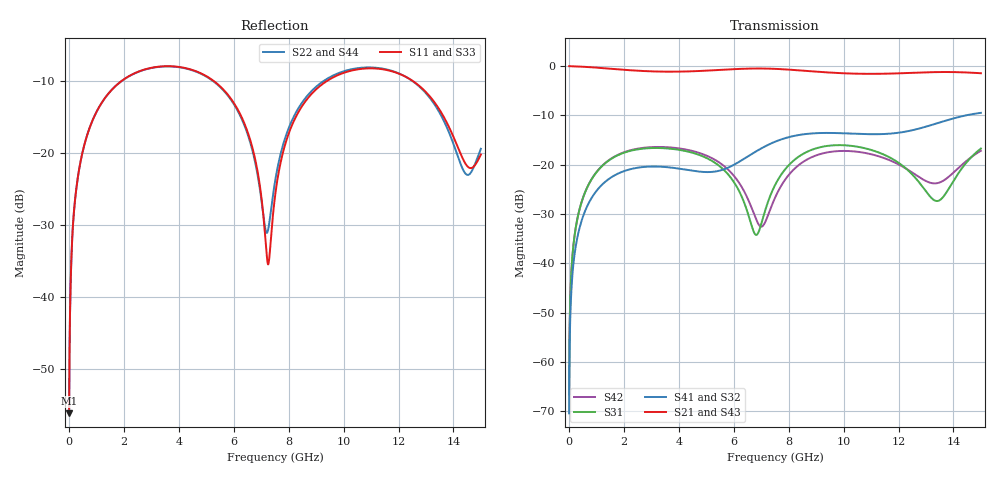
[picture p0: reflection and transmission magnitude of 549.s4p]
! Created with skrf 1.8.0 (http://scikit-rf.org).
# GHz S RI R 50.0
!freq ReS11 ImS11 ReS12 ImS12 ReS13 ImS13
! ReS14 ImS14
! ReS21 ImS21 ReS22 ImS22 ReS23 ImS23
! ReS24 ImS24
! ReS31 ImS31 ReS32 ImS32 ReS33 ImS33
! ReS34 ImS34
! ReS41 ImS41 ReS42 ImS42 ReS43 ImS43
! ReS44 ImS44
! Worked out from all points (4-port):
!   2499 points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, 5 MHz to 15 GHz, reference 50 ohm
!   strongest paths, dB at 5 MHz, 3.476 GHz, 7.19 GHz, 11.1 GHz, 15 GHz:
!     S21: 0.0, -1.1, -0.5, -1.6, -1.4
!     S43: 0.0, -1.1, -0.5, -1.6, -1.4
!     S41: -70.5, -20.5, -16.1, -13.8, -9.5
!     S32: -70.5, -20.5, -16.1, -13.9, -9.5
!     S31: -66.6, -16.7, -28.5, -17.2, -16.7
!     S42: -66.6, -16.4, -31.1, -18.0, -17.2
!   lowest |S11| = -56.1 dB at 5 MHz (marker M1), VSWR 1.00, Z = 50.1 + j0.0953 ohm
!   |S11| at or under -10 dB: start of sweep to 1.938 GHz; 5.249 GHz to 9.418 GHz (4.169 GHz wide, 56.9 % of centre); 12.5 GHz to end of sweep
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0.005  0.00124 0.000951  0.9987 -0.00242  6.04e-05 0.000463  -5.89e-05 -0.000294
       0.9987 -0.00242  0.00124 0.000951  -5.89e-05 -0.000294  6.04e-05 0.000463
       6.04e-05 0.000463  -5.89e-05 -0.000294  0.00124 0.00095  0.9987 -0.00243
       -5.89e-05 -0.000294  6.04e-05 0.000463  0.9987 -0.00243  0.00124 0.00095
0.4626928  0.0275 0.0908  0.9618 -0.221  0.0124 0.0402  -0.0105 -0.0251
           0.9618 -0.221  0.0274 0.0908  -0.0105 -0.0251  0.0128 0.0401
           0.0124 0.0402  -0.0105 -0.0251  0.0275 0.0908  0.9618 -0.221
           -0.0105 -0.0251  0.0128 0.0401  0.9618 -0.221  0.0274 0.0908
2.225927  0.2978 0.1695  0.4912 -0.764  0.1272 0.0534  -0.0898 0.00326
          0.4912 -0.764  0.2961 0.1709  -0.0896 0.00301  0.1322 0.0456
          0.1272 0.0534  -0.0896 0.00301  0.2979 0.1693  0.4912 -0.764
          -0.0898 0.00326  0.1322 0.0456  0.4912 -0.764  0.2959 0.171
5.864944  0.1538 -0.1859  -0.7152 -0.59  0.0499 -0.0566  -0.0408 0.0861
          -0.7152 -0.59  0.1588 -0.1768  -0.0426 0.0845  0.0191 -0.0831
          0.0499 -0.0566  -0.0426 0.0845  0.1535 -0.1869  -0.7152 -0.5899
          -0.0408 0.0861  0.0191 -0.0831  -0.7152 -0.5899  0.1597 -0.1763
7.240517  0.0168 -0.00249  -0.9417 -0.0535  0.0285 0.03  -0.00261 0.1584
          -0.9417 -0.0535  0.028 0.00598  -0.00634 0.1583  -0.017 0.0251
          0.0285 0.03  -0.00634 0.1583  0.0159 -0.00291  -0.9417 -0.0534
          -0.00261 0.1584  -0.017 0.0251  -0.9417 -0.0534  0.0291 0.00549
9.691538  0.3015 0.1525  -0.4598 0.7197  0.1567 -0.0161  0.1999 0.0627
          -0.4598 0.7197  0.3162 0.1447  0.1969 0.0677  0.1364 0.00759
          0.1567 -0.0161  0.1969 0.0677  0.3024 0.1525  -0.4595 0.7199
          0.1999 0.0627  0.1364 0.00759  -0.4595 0.7199  0.3156 0.1442
15  0.0898 0.037  0.8438 -0.0738  0.0684 0.1286  -0.0543 -0.3311
    0.8438 -0.0738  0.089 0.0586  -0.0404 -0.3329  0.0194 0.137
    0.0684 0.1286  -0.0404 -0.3329  0.0885 0.0365  0.8439 -0.074
    -0.0543 -0.3311  0.0194 0.137  0.8439 -0.074  0.0904 0.0534
